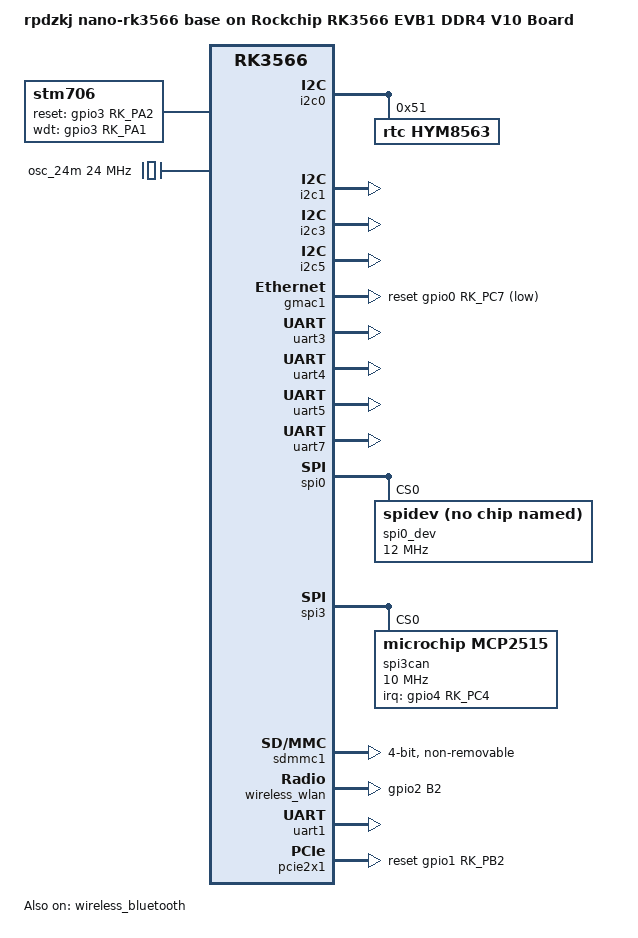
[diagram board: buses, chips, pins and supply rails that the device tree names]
// SPDX-License-Identifier: (GPL-2.0+ OR MIT)
/*
 * Copyright (c) 2020 Rockchip Electronics Co., Ltd.
 *
 */

/dts-v1/;
//rk3566-evb1-ddr4-v10
//#include "rk3566-evb1-ddr4-v10.dtsi"
//#include "rk3566-base-no-rk809.dtsi"
#include "rk3566-evb-rpdzkj-pwm-regulator.dtsi"
#include "rk3568-linux.dtsi"



/*************************adc key***********************/
#include "rp-adc-key.dtsi"
/***************************************************/

/*************************gmac***********************/
#include "rp-gmac1-m0-pro-rk3566.dtsi"
/***************************************************/


/*************************pcie***********************/
#include "rk3568-pcie2x1.dtsi"
/***************************************************/

#include "rp-audio-es8311.dtsi"

/***************** SINGLE LCD (LCD + HDMI) ****************/
#include "lcd-gpio-nano-rk3566.dtsi"
/* HDMI only */
//#include "rp-lcd-hdmi.dtsi"

/** MIPI DSI0 */
//#include "rp-lcd-mipi0-5-720-1280-v2-boxTP.dtsi"
#include "rp-lcd-mipi0-7-720-1280.dtsi"
//#include "rp-lcd-mipi0-8-800-1280-v3.dtsi"
//#include "rp-lcd-mipi0-8-1200-1920.dtsi"
//#include "rp-lcd-mipi0-10-800-1280-v3.dtsi"
//#include "rp-lcd-mipi0-10-1200-1920.dtsi"

/** LVDS */
//#include "rp-lcd-lvds-7-1024-600.dtsi"
//#include "rp-lcd-mipi1tolvds-gm8775c-10-1024-600-raw.dtsi"
//#include "rp-lcd-mipi1tolvds-gm8775c-1920-1080.dtsi"
//#include "rp-lcd-lvds-10-1280-800.dtsi"

/** LVDS + HDMI */
//#include "rp-lcd-lvds-7-1024-600-v2.dtsi"

/** EDP */
//#include "rp-lcd-edp-13.3-15.6-1920-1080.dtsi"




/ {
	model = "rpdzkj nano-rk3566 base on Rockchip RK3566 EVB1 DDR4 V10 Board";
	compatible = "rpdzkj,nano-rk3566", "rockchip,rk3566";

        
        rp_power{
                status = "okay";
                compatible = "rp_power";
                rp_not_deep_sleep = <1>;

		pinctrl-names = "default";
                pinctrl-0 = <&led_pin &fan_pin &usb_pins>;

                //#define GPIO_FUNCTION_OUTPUT 0
                //#define GPIO_FUNCTION_INPUT 1
                //#define GPIO_FUNCTION_IRQ 2
                //#define GPIO_FUNCTION_FLASH 3
                //#define GPIO_FUNCTION_OUTPUT_CTRL 4
                
                /**
                 * gpioxxx {                    // the node name will display on /proc/rp_power, you can define any character string
                 *      gpio_num = <>;          // gpio you want ot control
                 *      gpio_function = <>;     // function of current gpio, refer to above define.
                 * };
                 */
                   
                
                /******* sytem power en pin, donnot change it only if you know what you are doing */
                                
                led {       //system led
                        gpio_num = <&gpio3 RK_PD2 GPIO_ACTIVE_HIGH>;
                        gpio_function = <4>;
                };
                
                fan {        //fan en
                        gpio_num = <&gpio0 RK_PC2 GPIO_ACTIVE_HIGH>;
                        gpio_function = <4>;
                };

		otg_power {       //usb otg power
                        gpio_num = <&gpio0 RK_PC1 GPIO_ACTIVE_HIGH>;
                        gpio_function = <4>;
                };

                hub_rst {       //usb hub
                        gpio_num = <&gpio3 RK_PC1 GPIO_ACTIVE_HIGH>;
                        gpio_function = <4>;
                };

                usb3_pwr {       //usb3 power en
                        gpio_num = <&gpio0 RK_PA6 GPIO_ACTIVE_HIGH>;
                        gpio_function = <4>;
                };

		usb2_vdd0 {       //usb2.0_vdd0 power en
                        gpio_num = <&gpio0 RK_PD3 GPIO_ACTIVE_HIGH>;
                        gpio_function = <4>;
                };
                usb2_vdd1 {       //usb2.0_vdd1 power en
                        gpio_num = <&gpio0 RK_PD4 GPIO_ACTIVE_HIGH>;
                        gpio_function = <4>;
                };

		vdd_4g {       //4g enable
                        gpio_num = <&gpio3 RK_PC7 GPIO_ACTIVE_HIGH>;
                        gpio_function = <4>;
                };

		spk_en {       //spk enable
                        gpio_num = <&gpio3 RK_PA3 GPIO_ACTIVE_HIGH>;
                        gpio_function = <4>;
                };
                spk_mute {       //spk mute
                        gpio_num = <&gpio3 RK_PA4 GPIO_ACTIVE_LOW>;
                        gpio_function = <4>;
                };
        };


        rp_gpio{
                status = "okay";
                compatible = "rp_gpio";

                gpio3d3 {       
                        gpio_num = <&gpio3 RK_PD3 GPIO_ACTIVE_HIGH>;
                        gpio_function = <0>;
                };
                gpio3d4 {       
                        gpio_num = <&gpio3 RK_PD4 GPIO_ACTIVE_HIGH>;
                        gpio_function = <0>;
                };
                /***** gpio, add you want to control as blow */
	};

	stm706 {
                status = "okay";
                compatible = "stm706";
                reset_gpio = <&gpio3 RK_PA2 GPIO_ACTIVE_HIGH>;
                wdt_gpio = <&gpio3 RK_PA1 GPIO_ACTIVE_HIGH>;
        };
    
    /** 24M osc clock to mcp2515 */
    osc_24m: osc24m {
        compatible = "fixed-clock";
        #clock-cells = <0>;
        clock-frequency = <24000000>;
    };
};

/** stm706 watchdog pinctrl clash **/
&rk_headset {
	status = "disabled";
};


&vcc3v3_sd {
	pinctrl-names = "default";
        pinctrl-0 = <&vcc3v3_sd_pin>;
        gpio = <&gpio0 RK_PA5 GPIO_ACTIVE_LOW>;

};

&pwm7 {
    /** disable for used to be led control */
    status = "disabled";
};


 /*
  * There are 10 independent IO domains in RK3566/RK3568, including PMUIO[0:2] and VCCIO[1:7].
  * 1/ PMUIO0 and PMUIO1 are fixed-level power domains which cannot be configured;
  * 2/ PMUIO2 and VCCIO1,VCCIO[3:7] domains require that their hardware power supply voltages
  *    must be consistent with the software configuration correspondingly
  *     a/ When the hardware IO level is connected to 1.8V, the software voltage configuration
  *        should also be configured to 1.8V accordingly;
  *     b/ When the hardware IO level is connected to 3.3V, the software voltage configuration
  *        should also be configured to 3.3V accordingly;
  * 3/ VCCIO2 voltage control selection (0xFDC20140)
  *     BIT[0]: 0x0: from GPIO_0A7 (default)
  *     BIT[0]: 0x1: from GRF
  *    Default is determined by Pin FLASH_VOL_SEL/GPIO0_A7:
  *     L:VCCIO2 must supply 3.3V
  *     H:VCCIO2 must supply 1.8V
  */
&pmu_io_domains {
        status = "okay";
        pmuio2-supply = <&vcc3v3_pmu>;
        vccio1-supply = <&vcc_3v3>;
        vccio3-supply = <&vccio_sd>;
        vccio4-supply = <&vccio_wl>;
        vccio5-supply = <&vcc_3v3>;
        vccio6-supply = <&vcc_1v8>;
        vccio7-supply = <&vcc_3v3>;
};

&i2c0 {
        status = "okay";
	pinctrl-names = "default";
        pinctrl-0 = <&i2c0_xfer>;

        rtc@51 {
                status = "okay";
                compatible = "rtc,hym8563";
                reg = <0x51>;
            //    irq_gpio = <&gpio2 RK_PB4 GPIO_ACTIVE_LOW>;
        };
};

&i2c1 {
    	status = "okay";
};

&i2c3 {
    	status = "okay";
};


&i2c5 {
    	status = "okay";
        pinctrl-names = "default";
        pinctrl-0 = <&i2c5m0_xfer>;
};


&gmac1 {
	status = "okay";
	snps,reset-gpio = <&gpio0 RK_PC7 GPIO_ACTIVE_LOW>;
	pinctrl-names = "default";
        pinctrl-0 = <&gmac1m1_miim
                     &gmac1m1_tx_bus2
                     &gmac1m1_rx_bus2
                     &gmac1m1_rgmii_clk
                     &gmac1m1_rgmii_bus
                     &gmac1m1_clkinout
		     &eth1m1_pins>;

    tx_delay = <0x49>;
    rx_delay = <0x2d>;
};

&uart0 {
    status = "disbled";
};

&uart3 {
	status = "okay";
	pinctrl-names = "default";
	pinctrl-0 = <&uart3m1_xfer>;
};

&uart4 {
        status = "okay";
        pinctrl-names = "default";
        pinctrl-0 = <&uart4m1_xfer>;
};

&uart5 {
    status = "okay";
    pinctrl-names = "default";
    pinctrl-0 = <&uart5m1_xfer>;
};

&uart7 {
        status = "okay";
        pinctrl-names = "default";
        pinctrl-0 = <&uart7m1_xfer>;
};

&spi0 {
        status = "okay";
        /* rewrite pinctrl, for cs1 used to be gpio */
                pinctrl-0 = <&spi0m0_cs0 &spi0m0_pins>;
                pinctrl-1 = <&spi0m0_cs0 &spi0m0_pins_hs>;

    spi0_dev@0 {
        compatible = "rockchip,spidev";
        reg = <0>;
        spi-max-frequency = <12000000>;
        spi-lsb-first;
    };
};

&spi3 {
	status = "okay";
    
    /* rewrite pinctrl for cs1 used to be camera clk */
    pinctrl-0 = <&spi3m1_cs0 &spi3m1_pins>;
    pinctrl-1 = <&spi3m1_cs0 &spi3m1_pins_hs>;
	
	spi3can: mcp2515@0 {
	    status = "okay";
            compatible = "microchip,mcp2515";
            reg = <0>;
            clocks = <&osc_24m>;
            interrupt-parent = <&gpio4>;
            interrupts = <RK_PC4 IRQ_TYPE_LEVEL_LOW>;
            // vdd-supply = <&reg5v0>;
            // xceiver-supply = <&reg5v0>;
            spi-max-frequency = <10000000>;
        };
};

/***************************************************/

&dmc {
	status = "disabled";
};

&dfi {
	status = "disabled";
};
/** LCD configuration */
#if defined(RP_SINGLE_LCD)

    #if defined(RP_MIPI1_USED)
        #if defined(RP_DUALLVDS)
        #else
        #endif

    #elif defined(RP_EDP_USED)
    #endif
    
#else
    #ifdef RP_MIPI02LVDS
    #endif
#endif    

#if !defined(RP_DUALLVDS)
	//but dual lvds donot need invert
	&backlight4 {
	    pwms = <&pwm4 0 25000 1>;
	};
#else
	&backlight5 {
	    pwms = <&pwm5 0 25000 0>;
	};
#endif


/** wifi/bt config */
&sdio_pwrseq {
    pinctrl-0 = <&wifi_enable_h>;
    reset-gpios = <&gpio2 RK_PB1 GPIO_ACTIVE_LOW>;
};

&sdmmc2 {
	status = "disabled";
};

&sdmmc1 {
	max-frequency = <150000000>;
        supports-sdio;
        bus-width = <4>;
        disable-wp;
        cap-sd-highspeed;
        cap-sdio-irq;
        keep-power-in-suspend;
        mmc-pwrseq = <&sdio_pwrseq>;
        non-removable;
        pinctrl-names = "default";
        pinctrl-0 = <&sdmmc1_bus4 &sdmmc1_cmd &sdmmc1_clk>;
        sd-uhs-sdr104;
        status = "okay";
};

&wireless_wlan {
	assigned-clocks = <&pmucru CLK_WIFI>;
        assigned-clock-rates = <24000000>;
        clocks = <&pmucru CLK_WIFI>;
        clock-names = "soc_24M";
        pinctrl-0 = <&wifi_host_wake_irq &clk32k_out1>;
    WIFI,host_wake_irq = <&gpio2 RK_PB2 GPIO_ACTIVE_HIGH>;
};

&wireless_bluetooth {
    uart_rts_gpios = <&gpio2 RK_PB5 GPIO_ACTIVE_LOW>;
    pinctrl-0 = <&uart1m0_rtsn>;
    pinctrl-1 = <&uart1_gpios>;
    BT,reset_gpio = <&gpio2 RK_PB7 GPIO_ACTIVE_HIGH>;
    BT,wake_gpio = <&gpio2 RK_PC1 GPIO_ACTIVE_HIGH>;
    BT,wake_host_irq = <&gpio2 RK_PC0 GPIO_ACTIVE_HIGH>;
    status = "okay";
};

&uart1 {
    status = "okay";
    pinctrl-names = "default";
    pinctrl-0 = <&uart1m0_xfer &uart1m0_ctsn>;
};


/** pcie2x1 configuration */
&pcie2x1 {
    status = "okay";
    reset-gpios = <&gpio1 RK_PB2 GPIO_ACTIVE_HIGH>;
};


&pinctrl {
	power_pins {
		vcc3v3_sd_pin: vcc3v3_sd_pin {
			rockchip,pins =
                                <0 RK_PA5 RK_FUNC_GPIO &pcfg_pull_up>;
		};

		vcc5v0_pin: vcc5v0-pin {
                        rockchip,pins =
                                <3 RK_PD0 RK_FUNC_GPIO &pcfg_pull_up>;
                };
		
		led_pin: led-pin {
                        rockchip,pins =
                                <3 RK_PD2 RK_FUNC_GPIO &pcfg_pull_none>;
                };
		fan_pin: fan-pin {
				rockchip,pins =
					<0 RK_PC2 RK_FUNC_GPIO &pcfg_pull_none>;
		};
		usb_pins: usb-pins {
				rockchip,pins =
			/* otg power en */
					<0 RK_PC1 RK_FUNC_GPIO &pcfg_pull_none>,
			/* hub reset pin */
					<3 RK_PC1 RK_FUNC_GPIO &pcfg_pull_none>,
			/* usb3.0 power en */
					<0 RK_PA6 RK_FUNC_GPIO &pcfg_pull_none>,
			/* usb2.0 vdd0 en */
					<0 RK_PD3 RK_FUNC_GPIO &pcfg_pull_none>,
			/* usb2.0 vdd1 en */
					<0 RK_PD4 RK_FUNC_GPIO &pcfg_pull_none>;
		};
	};
	
	sdio-pwrseq {   //redefine sdio power pin     
        	wifi_enable_h: wifi-enable-h {
            		rockchip,pins = <2 RK_PB1 RK_FUNC_GPIO &pcfg_pull_none>;
        	};
    	};

    	wireless-wlan { //redefine wlaD4wake host pin
        	wifi_host_wake_irq: wifi-host-wake-irq {
            		rockchip,pins = <2 RK_PB2 0 &pcfg_pull_down>;
        	};
    	};

    	wireless-bluetooth {
        	uart1_gpios: uart1-gpios {
            		rockchip,pins = <2 RK_PB5 0 &pcfg_pull_none>;
        	};
       };
};
